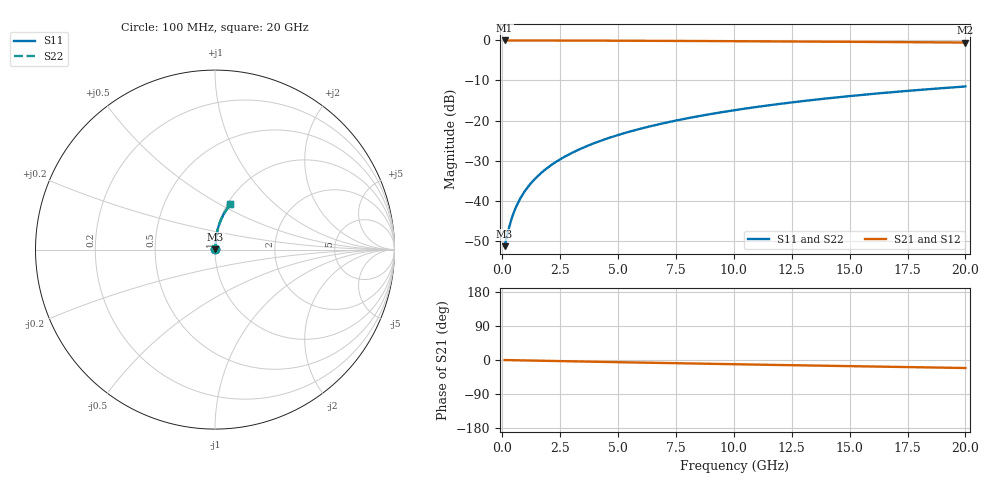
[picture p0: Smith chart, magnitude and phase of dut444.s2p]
! Touchstone file exported from HFSS 2024.1.0
!  File:  C:/UserFiles/LocalFiles/RDL_TSV_Batchsim/temp_RDL_bottom_444_1779684775.aedt
!  Generated:  12:56:15 PM May 25, 2026
!  Design:  RDL_bottom
!  Project:  temp_RDL_bottom_444_1779684775
!  Setup:  Setup1
!  Solution:  Sweep
! Variables:
!  dtsv = 10.80580581um
!  hbump = 3um
!  htsv = 82.68um
!  ldown = 224.19um
!  lrdl = 100um
!  p = 40
!  p1 = 52.19um
!  rhole = 1um
!  t = 450um
!  tdown = 2.43um
!  trdl = 3.915915916um
!  wdown = 15.68um
!  wrdl = 20um
# GHz S MA R 50.000000
! Terminal data exported
! Port[1] = RDL1_T1
! Port[2] = RDL1_T2
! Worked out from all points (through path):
!   200 points, 100 MHz to 20 GHz, reference 50 ohm
!   highest |S21| = -0.02 dB at 100 MHz (marker M1); lowest = -0.5 dB at 20 GHz (marker M2)
!   group delay of S21, straight-line fit = 2.93 ps
!   lowest |S11| = -51.3 dB at 100 MHz (marker M3), VSWR 1.01, Z = 50.2 + j0.138 ohm
!   |S11| at or under -10 dB: start of sweep to end of sweep
!   |S22| runs from -51.3 to -11.5 dB; largest |S21 - S12| = 4e-15
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0.1  0.002725 30.2  0.9976 -0.1  0.9976 -0.1  0.002725 30.2
! Gamma 0 0 0 0
! Port Impedance 50 0 50 0
0.3  0.004751 59.2  0.9976 -0.4  0.9976 -0.4  0.004751 59.2
0.4  0.00596 65.3  0.9975 -0.5  0.9975 -0.5  0.00596 65.3
0.5  0.007204 69.3  0.9974 -0.6  0.9974 -0.6  0.007204 69.3
0.6  0.008461 72.1  0.9973 -0.7  0.9973 -0.7  0.008461 72.1
0.8  0.01099 75.7  0.9972 -0.9  0.9972 -0.9  0.01099 75.7
1.1  0.01482 78.9  0.997 -1.3  0.997 -1.3  0.01482 78.9
1.5  0.01995 81.2  0.9966 -1.8  0.9966 -1.8  0.01995 81.2
1.8  0.02383 82.3  0.9963 -2.1  0.9963 -2.1  0.02383 82.3
2.1  0.02772 83.0  0.996 -2.5  0.996 -2.5  0.02772 83.0
2.7  0.03556 83.9  0.9953 -3.1  0.9953 -3.1  0.03556 83.9
3.5  0.0461 84.4  0.994 -4.1  0.994 -4.1  0.0461 84.4
4.2  0.05541 84.5  0.9927 -4.8  0.9927 -4.8  0.05541 84.5
5  0.06614 84.4  0.9911 -5.7  0.9911 -5.7  0.06614 84.4
5.9  0.07832 84.1  0.989 -6.7  0.989 -6.7  0.07832 84.1
6.8  0.09058 83.6  0.9866 -7.7  0.9866 -7.7  0.09058 83.6
8.3  0.1112 82.5  0.9824 -9.3  0.9824 -9.3  0.1112 82.5
10.1  0.1359 81.0  0.9768 -11.3  0.9768 -11.3  0.1359 81.0
11.7  0.1578 79.5  0.9715 -12.9  0.9715 -12.9  0.1578 79.5
13.4  0.1808 77.8  0.9656 -14.6  0.9656 -14.6  0.1808 77.8
16.7  0.2245 74.5  0.9532 -17.9  0.9532 -17.9  0.2245 74.5
20  0.2663 71.2  0.9398 -21.1  0.9398 -21.1  0.2663 71.2
